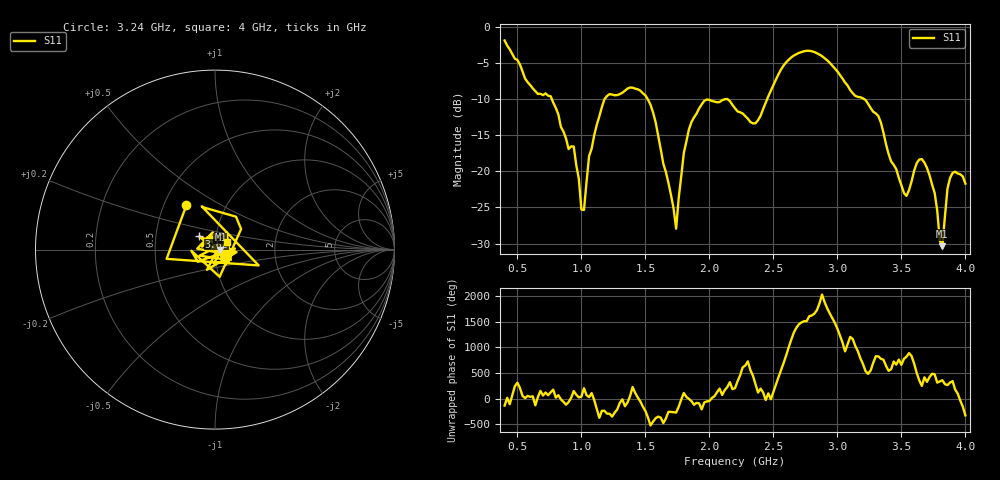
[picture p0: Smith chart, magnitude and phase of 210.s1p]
!Created with skrf (http://scikit-rf.org).
# Hz S RI R 50.0
!freq ReS11 ImS11
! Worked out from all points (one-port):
!   181 points, 400 MHz to 4 GHz, reference 50 ohm
!   lowest |S11| = -30.4 dB at 3.82 GHz (marker M1), VSWR 1.06, Z = 53.1 - j0.0321 ohm
!   |S11| at or under -10 dB: 769.2 MHz to 1.18 GHz (410.8 MHz wide, 42.1 % of centre); 1.518 GHz to 2.125 GHz (606.7 MHz wide, 33.3 % of centre); 3.21 GHz to end of sweep (the widest 3 of 4)
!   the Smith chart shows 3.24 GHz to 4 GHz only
!   S11 on the Smith chart (normalised r, x): 3.24 GHz: 0.65, +0.35; 3.62 GHz: 0.83, +0.12; 4 GHz: 1.14, +0.10
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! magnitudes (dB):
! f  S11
! 400 MHz  -1.9
! 580 MHz  -7.6
! 760 MHz  -9.6
! 860 MHz  -14.5
! 940 MHz  -16.6
! 1 GHz  -25.3
! 1.02 GHz  -25.4
! 1.06 GHz  -17.9
! 1.16 GHz  -11.1
! 1.3 GHz  -9.3
! 1.52 GHz  -10.1
! 1.74 GHz  -27.9
! 1.76 GHz  -23.7
! 1.84 GHz  -14.2
! 1.92 GHz  -11.3
! 2.2 GHz  -11.3
! 2.36 GHz  -13.3
! 2.66 GHz  -3.9
! 2.86 GHz  -3.8
! 3.1 GHz  -8.7
! 3.24 GHz  -10.6
! 3.52 GHz  -23.0
! 3.56 GHz  -22.6
! 3.62 GHz  -18.8
! 3.72 GHz  -20.6
! 3.82 GHz  -30.4
! 3.88 GHz  -20.9
! 4 GHz  -21.7
